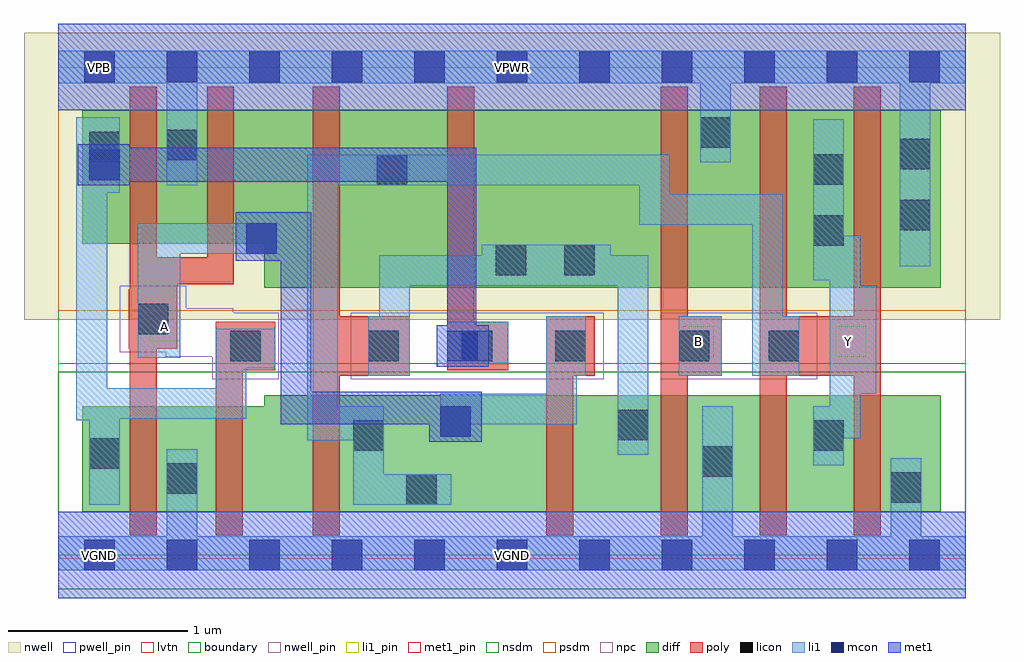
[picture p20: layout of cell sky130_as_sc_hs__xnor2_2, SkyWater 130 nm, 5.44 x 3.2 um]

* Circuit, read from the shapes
.subckt sky130_as_sc_hs__xnor2_2 A B VGND VNB VPB VPWR Y
XM1 VGND A n1 VNB sky130_fd_pr__nfet_01v8_lvt w=0.59 l=0.15
XM2 n2 n1 VGND VNB sky130_fd_pr__nfet_01v8_lvt w=0.59 l=0.15
XM3 n3 n4 n2 VNB sky130_fd_pr__nfet_01v8_lvt w=0.65 l=0.15
XM4 n4 A n3 VNB sky130_fd_pr__nfet_01v8_lvt w=0.65 l=0.15
XM5 VGND B n4 VNB sky130_fd_pr__nfet_01v8_lvt w=0.65 l=0.15
XM6 Y n3 VGND VNB sky130_fd_pr__nfet_01v8_lvt w=0.65 l=0.15 m=2
XM7 VPWR A n1 VPB sky130_fd_pr__pfet_01v8 w=0.745 l=0.15
XM8 n5 A VPWR VPB sky130_fd_pr__pfet_01v8 w=0.745 l=0.15
XM9 n3 n4 n5 VPB sky130_fd_pr__pfet_01v8 w=0.99 l=0.15
XM10 n4 n1 n3 VPB sky130_fd_pr__pfet_01v8 w=0.99 l=0.15
XM11 VPWR B n4 VPB sky130_fd_pr__pfet_01v8 w=0.99 l=0.15
XM12 Y n3 VPWR VPB sky130_fd_pr__pfet_01v8 w=0.99 l=0.15 m=2
.ends

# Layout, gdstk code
import gdstk
lib = gdstk.Library(unit=1e-6, precision=1e-09)
def R(c, l, rs):  # rectangles x0, y0, x1, y1
    for r in rs: c.add(gdstk.rectangle(r[:2], r[2:], *l))
def A(c, l, x, y, w, h, nx, ny, dx, dy):  # array of equal rectangles
    R(c, l, [(x+i*dx, y+j*dy, x+i*dx+w, y+j*dy+h) for i in range(nx) for j in range(ny)])
nwell_pin = (64, 16)
nwell = (64, 20)
diff = (65, 20)
poly = (66, 20)
licon = (66, 44)
li1_pin = (67, 16)
li1 = (67, 20)
mcon = (67, 44)
met1_pin = (68, 16)
met1 = (68, 20)
nsdm = (93, 44)
psdm = (94, 20)
npc = (95, 20)
pwell_pin = (122, 16)
lvtn = (125, 44)
boundary = (235, 4)

sky130_as_sc_hs__xnor2_2 = lib.new_cell('sky130_as_sc_hs__xnor2_2')
R(sky130_as_sc_hs__xnor2_2, nwell_pin, [(0.145,2.635,0.315,2.805)])
R(sky130_as_sc_hs__xnor2_2, nwell, [(-0.19,1.31,5.25,2.91)])
R(sky130_as_sc_hs__xnor2_2, diff, [(0.135,0.24,4.92,0.83), (1.15,0.83,4.92,0.89), (1.15,1.49,4.92,1.735), (0.135,1.735,4.92,2.48)])
R(sky130_as_sc_hs__xnor2_2, poly, [(0.4,0.11,0.55,1.15), (0.88,0.11,1.03,1.03), (1.42,0.11,1.57,1), (2.72,0.11,2.87,1), (3.36,0.11,3.51,1), (3.91,0.11,4.06,1), (4.435,0.11,4.585,1), (1.42,1,1.96,1.33), (2.72,1,2.99,1.33), (3.36,1,3.7,1.33), (3.91,1,4.585,1.33), (0.88,1.03,1.21,1.3), (2.17,1.03,2.51,1.3), (0.395,1.15,0.665,1.48), (2.17,1.3,2.32,2.61), (1.42,1.33,1.57,2.61), (3.36,1.33,3.51,2.61), (3.91,1.33,4.06,2.61), (4.435,1.33,4.585,2.61), (0.4,1.48,0.665,1.51), (0.4,1.51,0.98,1.66), (0.4,1.66,0.55,2.61), (0.83,1.66,0.98,2.61)])
A(sky130_as_sc_hs__xnor2_2, licon, 1.73, 1.08, 0.17, 0.17, 3, 1, 0.52, 0)
R(sky130_as_sc_hs__xnor2_2, licon, [(1.94,0.28,2.11,0.45), (4.64,0.29,4.81,0.46), (0.605,0.34,0.775,0.51), (3.59,0.435,3.76,0.605), (0.175,0.48,0.345,0.65), (1.645,0.58,1.815,0.75), (4.21,0.58,4.38,0.75), (3.12,0.64,3.29,0.81), (0.96,1.08,1.13,1.25), (3.46,1.08,3.63,1.25), (3.96,1.08,4.13,1.25), (0.445,1.23,0.615,1.4), (2.44,1.56,2.61,1.73), (2.82,1.56,2.99,1.73), (4.21,1.725,4.38,1.895), (4.69,1.81,4.86,1.98), (1.775,2.06,1.945,2.23), (4.21,2.065,4.38,2.235), (4.69,2.15,4.86,2.32), (0.175,2.19,0.345,2.36), (0.605,2.2,0.775,2.37), (3.58,2.27,3.75,2.44)])
R(sky130_as_sc_hs__xnor2_2, li1_pin, [(3.485,1.105,3.655,1.275), (4.335,1.105,4.505,1.275), (0.51,1.19,0.68,1.36)])
R(sky130_as_sc_hs__xnor2_2, li1, [(0,-0.085,5.06,0.105), (0.605,0.105,0.775,0.59), (3.59,0.105,3.76,0.83), (4.64,0.105,4.81,0.54), (0.175,0.28,0.345,0.75), (1.645,0.28,2.19,0.45), (1.645,0.45,1.815,0.64), (4.21,0.5,4.38,0.65), (3.12,0.56,3.29,1.5), (1.39,0.64,1.815,0.83), (4.21,0.65,4.47,0.83), (2.13,0.66,2.3,0.73), (2.13,0.73,2.89,0.9), (0.1,0.75,0.345,0.76), (0.1,0.76,1.05,0.93), (1.39,0.83,1.56,2.06), (4.3,0.83,4.47,0.9), (2.72,0.9,2.89,1), (4.3,0.9,4.56,1.5), (0.1,0.93,0.275,2.02), (0.88,0.93,1.05,1.04), (1.73,1,1.96,1.33), (2.72,1,2.94,1.33), (3.46,1,3.7,1.33), (3.87,1,4.13,1.33), (0.88,1.04,1.21,1.26), (2.17,1.07,2.51,1.3), (0.445,1.1,0.68,1.68), (1.79,1.33,1.96,1.5), (3.87,1.33,4.04,1.84), (1.79,1.5,3.29,1.67), (4.3,1.5,4.47,1.53), (4.21,1.53,4.47,1.78), (4.69,1.61,4.86,2.63), (2.36,1.67,3.08,1.73), (0.445,1.68,1.22,1.85), (4.21,1.78,4.38,2.43), (3.24,1.84,4.04,2.01), (3.24,2.01,3.41,2.06), (0.1,2.02,0.345,2.44), (0.605,2.06,0.775,2.63), (1.39,2.06,3.41,2.23), (3.58,2.19,3.75,2.63), (0,2.63,5.06,2.81)])
A(sky130_as_sc_hs__xnor2_2, mcon, 0.145, -0.085, 0.17, 0.17, 11, 2, 0.46, 2.72)
R(sky130_as_sc_hs__xnor2_2, mcon, [(2.13,0.66,2.3,0.83), (2.17,1.08,2.34,1.25), (1.05,1.68,1.22,1.85), (0.175,2.09,0.345,2.26)])
R(sky130_as_sc_hs__xnor2_2, met1_pin, [(0,-0.24,5.06,0.24), (0.145,-0.085,0.315,0.085), (0,2.48,5.06,2.96), (0.145,2.635,0.315,2.805)])
R(sky130_as_sc_hs__xnor2_2, met1, [(0,-0.24,5.06,0.24), (2.07,0.63,2.36,0.73), (1.24,0.73,2.36,0.91), (1.24,0.91,1.41,1.64), (2.11,1.05,2.4,1.28), (2.17,1.28,2.33,2.08), (0.99,1.64,1.41,1.91), (0.11,2.06,0.4,2.08), (0.11,2.08,2.33,2.27), (0.11,2.27,0.4,2.29), (0,2.48,5.06,2.96)])
R(sky130_as_sc_hs__xnor2_2, nsdm, [(0,-0.19,5.06,1.02)])
R(sky130_as_sc_hs__xnor2_2, psdm, [(0,1.36,5.06,2.91)])
R(sky130_as_sc_hs__xnor2_2, npc, [(0.86,0.98,1.23,1.105), (1.63,0.98,3.04,1.35), (3.36,0.98,4.23,1.35), (0.6,1.105,1.23,1.13), (0.345,1.13,1.23,1.35), (0.345,1.35,0.975,1.375), (0.345,1.375,0.715,1.5)])
R(sky130_as_sc_hs__xnor2_2, pwell_pin, [(0.145,-0.085,0.315,0.085)])
R(sky130_as_sc_hs__xnor2_2, lvtn, [(0,-0.02,5.06,1.07)])
R(sky130_as_sc_hs__xnor2_2, boundary, [(0,0,5.06,2.72)])
sky130_as_sc_hs__xnor2_2.add(gdstk.Label('VPB', (0.23,2.72), layer=64, texttype=5))
sky130_as_sc_hs__xnor2_2.add(gdstk.Label('VPB', (0.23,2.72), layer=64, texttype=5))
sky130_as_sc_hs__xnor2_2.add(gdstk.Label('VGND', (0.23,0), layer=68, texttype=5))
sky130_as_sc_hs__xnor2_2.add(gdstk.Label('VGND', (2.53,0), layer=68, texttype=5))
sky130_as_sc_hs__xnor2_2.add(gdstk.Label('VPWR', (0.23,2.72), layer=68, texttype=5))
sky130_as_sc_hs__xnor2_2.add(gdstk.Label('VPWR', (2.53,2.72), layer=68, texttype=5))
sky130_as_sc_hs__xnor2_2.add(gdstk.Label('VNB', (0.23,0), layer=64, texttype=59))
sky130_as_sc_hs__xnor2_2.add(gdstk.Label('VNB', (0.23,0), layer=64, texttype=59))
sky130_as_sc_hs__xnor2_2.add(gdstk.Label('A', (0.595,1.275), layer=67, texttype=5))
sky130_as_sc_hs__xnor2_2.add(gdstk.Label('A', (0.595,1.275), layer=67, texttype=5))
sky130_as_sc_hs__xnor2_2.add(gdstk.Label('Y', (4.405,1.19), layer=67, texttype=5))
sky130_as_sc_hs__xnor2_2.add(gdstk.Label('Y', (4.42,1.19), layer=67, texttype=5))
sky130_as_sc_hs__xnor2_2.add(gdstk.Label('B', (3.57,1.19), layer=67, texttype=5))
sky130_as_sc_hs__xnor2_2.add(gdstk.Label('B', (3.57,1.19), layer=67, texttype=5))

lib.write_gds('sky130_as_sc_hs__xnor2_2.gds')
